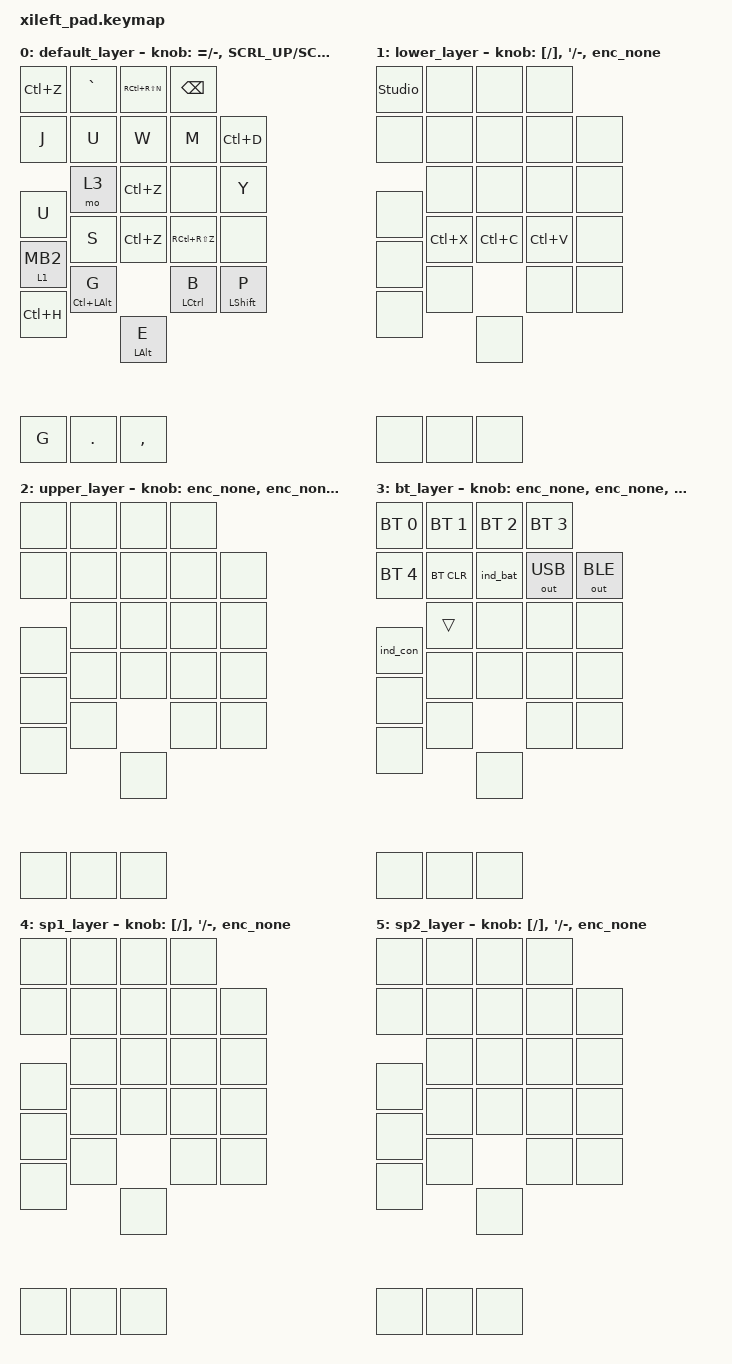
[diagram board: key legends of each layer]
/*
 * Copyright (c) 2026 Xiphelier
 * SPDX-License-Identifier: MIT
 *
 * xileft pad キーマップ
 * QMK/Vial 版 xileft_pad_v3.layout.json（実機で編集した最新状態）から移植。
 *
 * 移植にあたって落とした機能:
 *   - RGB (WS2812 24 個 / VialRGB) ... ZMK の underglow は 4 エフェクトのみのため不採用
 *   - ゲームパッド (BTN00-BTN31)  ... ZMK に HID ゲームパッド機能がないため
 *   - OS Detection                ... 相当機能なし
 * 上記が入っていた位置は &none にしてある。
 *
 * 旧 LIGHT レイヤ (index 3) は BT レイヤに変更。
 * BASE の row 2 (&mo 3) を押している間だけ有効になる:
 *   - BT_SEL 0-4 : 接続先プロファイルの切り替え（5 デバイスまで）
 *   - BT_CLR     : 現在のプロファイルのペアリング情報を消去
 *   - OUT_USB / OUT_BLE : 出力先の強制切り替え
 *   - ind_bat / ind_con : LED で電池残量・接続状態を色表示
 */

#include <behaviors.dtsi>
#include <dt-bindings/zmk/keys.h>
#include <dt-bindings/zmk/bt.h>
#include <dt-bindings/zmk/outputs.h>
/*
 * LED ステータス表示（zmk-rgbled-widget）の behavior。
 * &ind_bat = 電池残量を色で表示 / &ind_con = 接続状態を色で表示。
 * BT プロファイル切替時の点灯はモジュールが自動でやるので、
 * キーマップ側に書くことはない。
 */
#include <behaviors/rgbled_widget.dtsi>
/*
 * スクロール速度の既定値を上書きする（ZMK 公式の作法。既定は 10）。
 * SCRL_UP / SCRL_DOWN がこの値を使うようになる。
 * 値の根拠は下の inc_dec_msc の注記を参照。
 * ※ pointing.h の include より前に書くこと（ヘッダ側が #ifndef で見ている）。
 */
#define ZMK_POINTING_DEFAULT_SCRL_VAL 64
#include <dt-bindings/zmk/pointing.h>

/ {
    behaviors {
        /*
         * QMK の LT(1, KC_MS_BTN2) 相当。
         * 標準の &lt は tap 側が &kp 固定なので、マウスボタン版を用意する。
         */
        lt_mkp: layer_tap_mouse_key {
            compatible = "zmk,behavior-hold-tap";
            #binding-cells = <2>;
            flavor = "tap-preferred";
            tapping-term-ms = <200>;
            bindings = <&mo>, <&mkp>;
        };

        /*
         * エンコーダでホイールスクロールを送る。
         *
         * ★ tap-ms と速度値には理由がある。安易に変えないこと。
         *
         * &msc は "zmk,behavior-input-two-axis"、つまり「押している間ずっと
         * 一定速度でスクロールし続ける」時間ベースの behavior であって、
         * 1回押すと1ノッチ送るものではない。内部では 16ms (trigger-period-ms)
         * ごとに `速度 x 0.016` を積算し、1.0 を超えたぶんだけ HID に出す。
         * 離すと積算中の端数は捨てられる。
         *
         * sensor-rotate のデフォルト tap-ms は 5ms なので、最初の tick
         * (16ms) が来る前に離してしまい、スクロールが1回も出ない。
         * → tap-ms を 25ms にして tick をちょうど1回だけ通す。
         *
         * さらに既定の SCRL_UP / SCRL_DOWN は速度 10 で、1 tick あたり
         * 10 x 0.016 = 0.16 しか積算されない（1ノッチに約7 tick = 112ms 必要）。
         * → ファイル冒頭で ZMK_POINTING_DEFAULT_SCRL_VAL を 64 に上書きし、
         *   64 x 0.016 = 1.02 で 1 tick = 1ノッチちょうどにしている。
         *
         * 1デテントあたりのスクロール量を変えたい場合は、この速度ではなく
         * overlay の triggers-per-rotation を調整すること（現在 40 = 1デテント2回）。
         */
        inc_dec_msc: sensor_rotate_mouse_scroll {
            compatible = "zmk,behavior-sensor-rotate-var";
            #sensor-binding-cells = <2>;
            bindings = <&msc>, <&msc>;
            tap-ms = <25>;
        };

        /*
         * 未使用エンコーダ用のプレースホルダ。
         * &none は #sensor-binding-cells を持たないため sensor-bindings には直接書けない。
         */
        enc_none: sensor_rotate_none {
            compatible = "zmk,behavior-sensor-rotate";
            #sensor-binding-cells = <0>;
            bindings = <&none>, <&none>;
        };
    };

    keymap {
        compatible = "zmk,keymap";

        default_layer {   // BASE
            bindings = <
                &kp LC(Z)       &kp GRAVE       &kp RC(RS(N))   &kp BSPC   // row 0
                &kp J           &kp U           &kp W           &kp M           &kp LC(D)   // row 1
                &kp U           &mo 3           &kp LC(Z)       &none           &kp Y   // row 2  (&mo 3 = 押している間 BT レイヤ)
                &lt_mkp 1 MB2   &kp S           &kp LC(Z)       &kp RC(RS(Z))   &none   // row 3
                &kp LC(H)       &mt LC(LALT) G  &mt LALT E      &mt LCTRL B     &mt LSHFT P   // row 4
                &kp G           &kp DOT         &kp COMMA   // levers
            >;

            sensor-bindings = <
                &inc_dec_kp EQUAL MINUS           // encoder 1
                &inc_dec_msc SCRL_UP SCRL_DOWN    // encoder 2 (速度は冒頭の SCRL_VAL 上書きを参照)
                &inc_dec_kp RBKT BSLH             // encoder 3
            >;
        };

        lower_layer {   // LOWER  (&lt_mkp 1 MB2 で保持)
            bindings = <
                &studio_unlock  &none           &none           &none   // row 0
                &none           &none           &none           &none           &none   // row 1
                &none           &none           &none           &none           &none   // row 2
                &none           &kp LC(X)       &kp LC(C)       &kp LC(V)       &none   // row 3
                &none           &none           &none           &none           &none   // row 4
                &none           &none           &none   // levers
            >;

            sensor-bindings = <
                &inc_dec_kp LBKT RBKT             // encoder 1
                &inc_dec_kp SQT MINUS             // encoder 2
                &enc_none                         // encoder 3
            >;
        };

        upper_layer {   // UPPER  (現状ここへ遷移するキーは未割り当て)
            bindings = <
                &none  &none  &none  &none   // row 0
                &none  &none  &none  &none  &none   // row 1
                &none  &none  &none  &none  &none   // row 2
                &none  &none  &none  &none  &none   // row 3
                &none  &none  &none  &none  &none   // row 4
                &none  &none  &none   // levers
            >;

            sensor-bindings = <
                &enc_none                         // encoder 1
                &enc_none                         // encoder 2
                &enc_none                         // encoder 3
            >;
        };

        bt_layer {   // BT (旧 LIGHT レイヤ)。BASE の &mo 3 を押している間だけ有効
            bindings = <
                &bt BT_SEL 0    &bt BT_SEL 1    &bt BT_SEL 2    &bt BT_SEL 3   // row 0: 接続先プロファイル 1-4
                &bt BT_SEL 4    &bt BT_CLR      &ind_bat        &out OUT_USB    &out OUT_BLE   // row 1: プロファイル5 / ペアリング消去 / 電池残量表示 / 出力切替
                &ind_con        &trans          &none           &none           &none   // row 2  (&ind_con = 接続状態表示、&trans = レイヤキー自身の位置)
                &none           &none           &none           &none           &none   // row 3
                &none           &none           &none           &none           &none   // row 4
                &none           &none           &none   // levers
            >;

            sensor-bindings = <
                &enc_none                         // encoder 1
                &enc_none                         // encoder 2
                &enc_none                         // encoder 3
            >;
        };

        sp1_layer {   // SP1    (未使用の予備)
            bindings = <
                &none  &none  &none  &none   // row 0
                &none  &none  &none  &none  &none   // row 1
                &none  &none  &none  &none  &none   // row 2
                &none  &none  &none  &none  &none   // row 3
                &none  &none  &none  &none  &none   // row 4
                &none  &none  &none   // levers
            >;

            sensor-bindings = <
                &inc_dec_kp LBKT RBKT             // encoder 1
                &inc_dec_kp SQT MINUS             // encoder 2
                &enc_none                         // encoder 3
            >;
        };

        sp2_layer {   // SP2    (未使用の予備)
            bindings = <
                &none  &none  &none  &none   // row 0
                &none  &none  &none  &none  &none   // row 1
                &none  &none  &none  &none  &none   // row 2
                &none  &none  &none  &none  &none   // row 3
                &none  &none  &none  &none  &none   // row 4
                &none  &none  &none   // levers
            >;

            sensor-bindings = <
                &inc_dec_kp LBKT RBKT             // encoder 1
                &inc_dec_kp SQT MINUS             // encoder 2
                &enc_none                         // encoder 3
            >;
        };
    };
};
